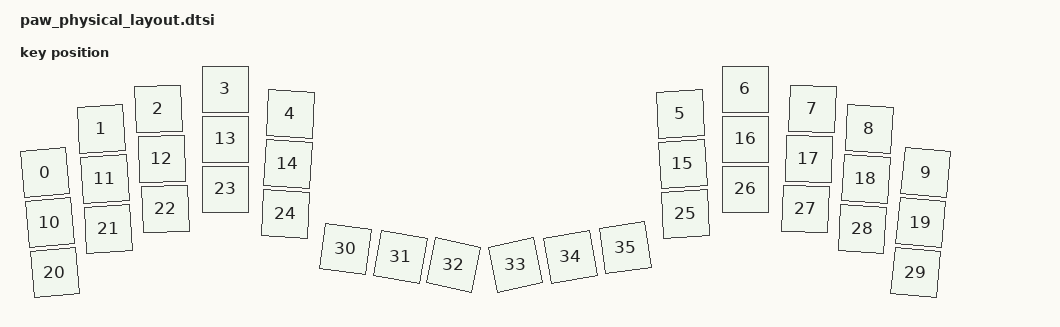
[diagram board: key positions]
// Not sure if this file has the correct name

#include <physical_layouts.dtsi>

/ {
    physical_layout0: physical_layout_0 {
        compatible = "zmk,physical-layout";
        display-name = "Paw";

        kscan = <&kscan0>;
        transform = <&matrix_transform0>;

        keys  //                     w   h    x    y     rot    rx    ry
            = <&key_physical_attrs 100 100    0  167  (-500)    50   217> // 0
            , <&key_physical_attrs 100 100  113   80  (-350)   163   130> // 1
            , <&key_physical_attrs 100 100  227   40  (-200)   277    90> // 2
            , <&key_physical_attrs 100 100  361    0       0     0     0>
            , <&key_physical_attrs 100 100  491   50     300   541   100> // 4
            , <&key_physical_attrs 100 100 1271   50  (-300)  1321   100> // 5
            , <&key_physical_attrs 100 100 1401    0       0     0     0> // 6
            , <&key_physical_attrs 100 100 1535   40     200  1585    90> // 7
            , <&key_physical_attrs 100 100 1649   80     350  1699   130> // 8
            , <&key_physical_attrs 100 100 1762  167     500  1812   217> // 9
            , <&key_physical_attrs 100 100   10  267  (-500)    60   317> // 10
            , <&key_physical_attrs 100 100  120  180  (-350)   170   230> // 11
            , <&key_physical_attrs 100 100  234  140  (-200)   284   190> // 12
            , <&key_physical_attrs 100 100  361  100       0     0     0> // 13
            , <&key_physical_attrs 100 100  486  150     300   536   200> // 14
            , <&key_physical_attrs 100 100 1276  150  (-300)  1326   200> // 15
            , <&key_physical_attrs 100 100 1401  100       0     0     0> // 16
            , <&key_physical_attrs 100 100 1528  140     200  1578   190> // 17
            , <&key_physical_attrs 100 100 1642  180     350  1692   230> // 18
            , <&key_physical_attrs 100 100 1752  267     500  1802   317> // 19
            , <&key_physical_attrs 100 100   20  367  (-500)    70   417> // 20
            , <&key_physical_attrs 100 100  127  280  (-350)   177   330> // 21
            , <&key_physical_attrs 100 100  241  240  (-200)   291   290> // 22
            , <&key_physical_attrs 100 100  361  200       0     0     0> // 23
            , <&key_physical_attrs 100 100  481  250     300   531   300> // 24
            , <&key_physical_attrs 100 100 1281  250  (-300)  1331   300> // 25
            , <&key_physical_attrs 100 100 1401  200       0  1451   250> // 26
            , <&key_physical_attrs 100 100 1521  240     200  1571   290> // 27
            , <&key_physical_attrs 100 100 1635  280     350  1685   330> // 28
            , <&key_physical_attrs 100 100 1742  367     500  1792   417> // 29

            , <&key_physical_attrs 100 100  601  320     790   651   370> // 30
            , <&key_physical_attrs 100 100  711  336     990   761   386> // 31
            , <&key_physical_attrs 100 100  821  352    1190   871   382> // 32
            , <&key_physical_attrs 100 100  941  352 (-1190)   991   402> // 33
            , <&key_physical_attrs 100 100 1051  336  (-990)  1101   386> // 34
            , <&key_physical_attrs 100 100 1161  320  (-790)  1191   370> // 35
            ; 
    };
};









